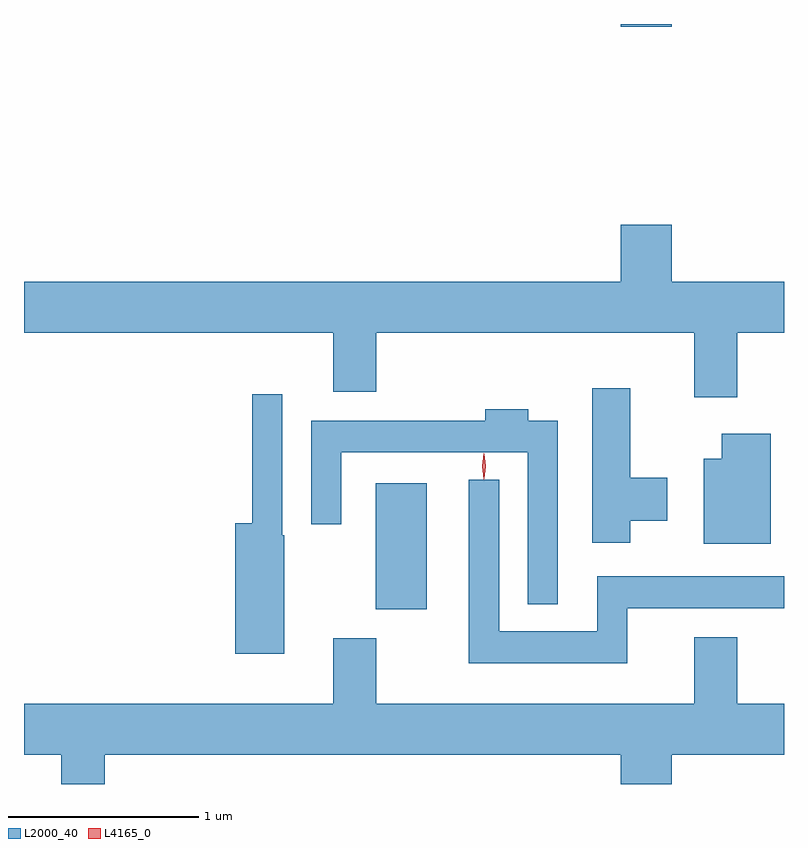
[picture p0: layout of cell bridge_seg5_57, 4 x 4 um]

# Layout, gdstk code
import gdstk
lib = gdstk.Library(unit=1e-6, precision=1e-09)
def R(c, l, rs):  # rectangles x0, y0, x1, y1
    for r in rs: c.add(gdstk.rectangle(r[:2], r[2:], *l))
def P(c, l, *ps):  # polygons
    for p in ps: c.add(gdstk.Polygon(p, *l))
L2000_40 = (2000, 40)
L4165_0 = (4165, 0)

bridge_seg5_57 = lib.new_cell('bridge_seg5_57')
R(bridge_seg5_57, L2000_40, [(1292.706,1475.321,1292.974,1475.984), (1293.996,1478.386,1294.264,1478.401)])
P(bridge_seg5_57, L2000_40, [(1294.609,1476.776),(1294.854,1476.776),(1294.854,1477.044),(1294.264,1477.044),(1294.264,1477.344),(1293.996,1477.344),(1293.996,1477.044),(1290.854,1477.044),(1290.854,1476.776),(1292.481,1476.776),(1292.481,1476.466),(1292.709,1476.466),(1292.709,1476.776),(1294.381,1476.776),(1294.381,1476.436),(1294.609,1476.436)],
  [(1294.044,1475.786),(1294.239,1475.786),(1294.239,1476.014),(1294.044,1476.014),(1294.044,1476.484),(1293.846,1476.484),(1293.846,1475.671),(1294.044,1475.671)],
  [(1292.224,1475.71),(1292.214,1475.71),(1292.214,1476.453),(1292.056,1476.453),(1292.056,1475.774),(1291.966,1475.774),(1291.966,1475.086),(1292.224,1475.086)],
  [(1293.664,1476.314),(1293.509,1476.314),(1293.509,1476.374),(1293.281,1476.374),(1293.281,1476.314),(1292.366,1476.314),(1292.366,1475.768),(1292.524,1475.768),(1292.524,1476.146),(1293.506,1476.146),(1293.506,1475.348),(1293.664,1475.348)],
  [(1294.784,1476.244),(1294.526,1476.244),(1294.526,1476.114),(1294.431,1476.114),(1294.431,1475.666),(1294.784,1475.666)],
  [(1294.029,1475.326),(1294.854,1475.326),(1294.854,1475.494),(1293.871,1475.494),(1293.871,1475.204),(1293.354,1475.204),(1293.354,1476.003),(1293.196,1476.003),(1293.196,1475.036),(1294.029,1475.036)],
  [(1291.279,1474.556),(1293.996,1474.556),(1293.996,1474.401),(1294.264,1474.401),(1294.264,1474.556),(1294.854,1474.556),(1294.854,1474.824),(1294.609,1474.824),(1294.609,1475.174),(1294.381,1475.174),(1294.381,1474.824),(1292.709,1474.824),(1292.709,1475.169),(1292.481,1475.169),(1292.481,1474.824),(1290.854,1474.824),(1290.854,1474.556),(1291.051,1474.556),(1291.051,1474.401),(1291.279,1474.401)])
P(bridge_seg5_57, L4165_0, [(1293.275,1476.007),(1293.275,1476.007),(1293.265,1476.074),(1293.275,1476.14),(1293.275,1476.14),(1293.276,1476.14),(1293.285,1476.074),(1293.276,1476.007)],
  [(1293.275,1476.003),(1293.274,1476.004),(1293.265,1476.073),(1293.274,1476.142),(1293.275,1476.143),(1293.275,1476.142),(1293.285,1476.073),(1293.275,1476.004)])

lib.write_gds('bridge_seg5_57.gds')
